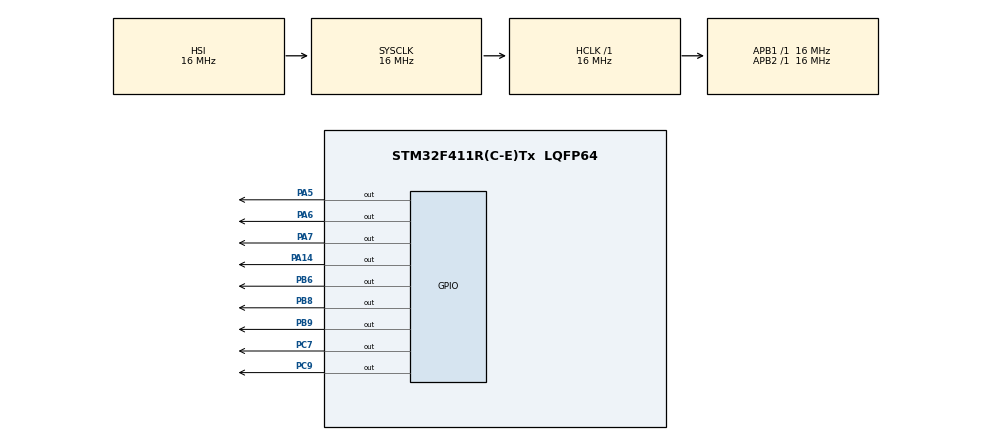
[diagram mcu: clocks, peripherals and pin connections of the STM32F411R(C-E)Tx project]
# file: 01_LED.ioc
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Mcu.Family=STM32F4
Mcu.Name=STM32F411R(C-E)Tx
Mcu.Package=LQFP64
NVIC.PriorityGroup=NVIC_PRIORITYGROUP_4
PA13.Signal=SYS_JTMS-SWDIO
PA14.Signal=GPIO_Output
PA5.Signal=GPIO_Output
PA6.Signal=GPIO_Output
PA7.Signal=GPIO_Output
PB6.Signal=GPIO_Output
PB8.Signal=GPIO_Output
PB9.Signal=GPIO_Output
PC7.Signal=GPIO_Output
PC9.Signal=GPIO_Output
ProjectManager.HeapSize=0x200
ProjectManager.StackSize=0x400
ProjectManager.TargetToolchain=STM32CubeIDE
RCC.AHBFreq_Value=16000000
RCC.APB1Freq_Value=16000000
RCC.APB2Freq_Value=16000000
RCC.CortexFreq_Value=16000000
RCC.HSE_VALUE=25000000
RCC.HSI_VALUE=16000000
RCC.LSE_VALUE=32768
RCC.SYSCLKFreq_VALUE=16000000
RCC.VCOOutputFreq_Value=192000000
board=custom

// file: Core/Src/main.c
/* USER CODE BEGIN Header */
/**
  ******************************************************************************
  * @file           : main.c
  * @brief          : Main program body
  ******************************************************************************
  * @attention
  *
  * Copyright (c) 2025 STMicroelectronics.
  * All rights reserved.
  *
  * This software is licensed under terms that can be found in the LICENSE file
  * in the root directory of this software component.
  * If no LICENSE file comes with this software, it is provided AS-IS.
  *
  ******************************************************************************
  */
/* USER CODE END Header */
#include "main.h"

/* USER CODE BEGIN PTD */

typedef enum{
  LED_OFF,
  LED_ON
}LED_STATE;

typedef struct{
  GPIO_TypeDef *port;
  uint32_t  pinNumber;
  uint32_t  interval;
  LED_STATE state;
  uint32_t lastTick;
}LED_CONTROL;

void updateLed(LED_CONTROL *led)
{
  uint32_t currentTick = HAL_GetTick(); //현재 시간 틱

  if(currentTick - led->lastTick >= led->interval)
  {
    led->lastTick = currentTick;
    if(led->state == LED_OFF){
      HAL_GPIO_WritePin(led->port, led->pinNumber, 1);
      led->state = LED_ON;
    }
    else
    {
      HAL_GPIO_WritePin(led->port, led->pinNumber, 0);
      led->state = LED_OFF;
    }
  }
}

/* USER CODE END PTD */

void SystemClock_Config(void);
static void MX_GPIO_Init(void);

int main(void)
{

  /* MCU Configuration--------------------------------------------------------*/

  /* Reset of all peripherals, Initializes the Flash interface and the Systick. */
  HAL_Init();

  /* Configure the system clock */
  SystemClock_Config();

  /* USER CODE BEGIN SysInit */

  // PC9, PB8, PB9, PA5, PA6, PA7, PB8, PC7,PA9
  LED_CONTROL led1 = {GPIOC, GPIO_PIN_9, 200, LED_OFF, 0};
  LED_CONTROL led2 = {GPIOB, GPIO_PIN_8, 1000, LED_OFF, 0};

  /* USER CODE END SysInit */

  /* Initialize all configured peripherals */
  MX_GPIO_Init();

  /* Infinite loop */
  /* USER CODE BEGIN WHILE */
  while (1)
  {
    // PC9, PB8, PB9, PA5, PA6, PA7, PB8, PC7,PA9
    updateLed(&led1);
    updateLed(&led2);

//    HAL_GPIO_WritePin(GPIOA, GPIO_PIN_5|GPIO_PIN_6|GPIO_PIN_7|GPIO_PIN_14, GPIO_PIN_SET);
//    HAL_GPIO_WritePin(GPIOC, GPIO_PIN_7|GPIO_PIN_9, GPIO_PIN_SET);
//    HAL_GPIO_WritePin(GPIOB, GPIO_PIN_6|GPIO_PIN_8|GPIO_PIN_9, GPIO_PIN_SET);
//    HAL_Delay(300);
//
//    HAL_GPIO_WritePin(GPIOA, GPIO_PIN_5|GPIO_PIN_6|GPIO_PIN_7|GPIO_PIN_14, GPIO_PIN_RESET);
//    HAL_GPIO_WritePin(GPIOC, GPIO_PIN_7|GPIO_PIN_9, GPIO_PIN_RESET);
//    HAL_GPIO_WritePin(GPIOB, GPIO_PIN_6|GPIO_PIN_8|GPIO_PIN_9, GPIO_PIN_RESET);
//    HAL_Delay(300);

    /* USER CODE END WHILE */

  }
}

void SystemClock_Config(void)
{
  RCC_OscInitTypeDef RCC_OscInitStruct = {0};
  RCC_ClkInitTypeDef RCC_ClkInitStruct = {0};

  /** Configure the main internal regulator output voltage
  */
  __HAL_RCC_PWR_CLK_ENABLE();
  __HAL_PWR_VOLTAGESCALING_CONFIG(PWR_REGULATOR_VOLTAGE_SCALE1);

  /** Initializes the RCC Oscillators according to the specified parameters
  * in the RCC_OscInitTypeDef structure.
  */
  RCC_OscInitStruct.OscillatorType = RCC_OSCILLATORTYPE_HSI;
  RCC_OscInitStruct.HSIState = RCC_HSI_ON;
  RCC_OscInitStruct.HSICalibrationValue = RCC_HSICALIBRATION_DEFAULT;
  RCC_OscInitStruct.PLL.PLLState = RCC_PLL_NONE;
  if (HAL_RCC_OscConfig(&RCC_OscInitStruct) != HAL_OK)
  {
    Error_Handler();
  }

  /** Initializes the CPU, AHB and APB buses clocks
  */
  RCC_ClkInitStruct.ClockType = RCC_CLOCKTYPE_HCLK|RCC_CLOCKTYPE_SYSCLK
                              |RCC_CLOCKTYPE_PCLK1|RCC_CLOCKTYPE_PCLK2;
  RCC_ClkInitStruct.SYSCLKSource = RCC_SYSCLKSOURCE_HSI;
  RCC_ClkInitStruct.AHBCLKDivider = RCC_SYSCLK_DIV1;
  RCC_ClkInitStruct.APB1CLKDivider = RCC_HCLK_DIV1;
  RCC_ClkInitStruct.APB2CLKDivider = RCC_HCLK_DIV1;

  if (HAL_RCC_ClockConfig(&RCC_ClkInitStruct, FLASH_LATENCY_0) != HAL_OK)
  {
    Error_Handler();
  }
}

static void MX_GPIO_Init(void)
{
  GPIO_InitTypeDef GPIO_InitStruct = {0};

  /* GPIO Ports Clock Enable */
  __HAL_RCC_GPIOA_CLK_ENABLE();
  __HAL_RCC_GPIOC_CLK_ENABLE();
  __HAL_RCC_GPIOB_CLK_ENABLE();

  /*Configure GPIO pin Output Level */
  HAL_GPIO_WritePin(GPIOA, GPIO_PIN_5|GPIO_PIN_6|GPIO_PIN_7|GPIO_PIN_14, GPIO_PIN_RESET);

  /*Configure GPIO pin Output Level */
  HAL_GPIO_WritePin(GPIOC, GPIO_PIN_7|GPIO_PIN_9, GPIO_PIN_RESET);

  /*Configure GPIO pin Output Level */
  HAL_GPIO_WritePin(GPIOB, GPIO_PIN_6|GPIO_PIN_8|GPIO_PIN_9, GPIO_PIN_RESET);

  /*Configure GPIO pins : PA5 PA6 PA7 PA14 */
  GPIO_InitStruct.Pin = GPIO_PIN_5|GPIO_PIN_6|GPIO_PIN_7|GPIO_PIN_14;
  GPIO_InitStruct.Mode = GPIO_MODE_OUTPUT_PP;
  GPIO_InitStruct.Pull = GPIO_NOPULL;
  GPIO_InitStruct.Speed = GPIO_SPEED_FREQ_LOW;
  HAL_GPIO_Init(GPIOA, &GPIO_InitStruct);

  /*Configure GPIO pins : PC7 PC9 */
  GPIO_InitStruct.Pin = GPIO_PIN_7|GPIO_PIN_9;
  GPIO_InitStruct.Mode = GPIO_MODE_OUTPUT_PP;
  GPIO_InitStruct.Pull = GPIO_NOPULL;
  GPIO_InitStruct.Speed = GPIO_SPEED_FREQ_LOW;
  HAL_GPIO_Init(GPIOC, &GPIO_InitStruct);

  /*Configure GPIO pins : PB6 PB8 PB9 */
  GPIO_InitStruct.Pin = GPIO_PIN_6|GPIO_PIN_8|GPIO_PIN_9;
  GPIO_InitStruct.Mode = GPIO_MODE_OUTPUT_PP;
  GPIO_InitStruct.Pull = GPIO_NOPULL;
  GPIO_InitStruct.Speed = GPIO_SPEED_FREQ_LOW;
  HAL_GPIO_Init(GPIOB, &GPIO_InitStruct);

}

void Error_Handler(void)
{
  __disable_irq();
  while (1)
  {
  }
}
